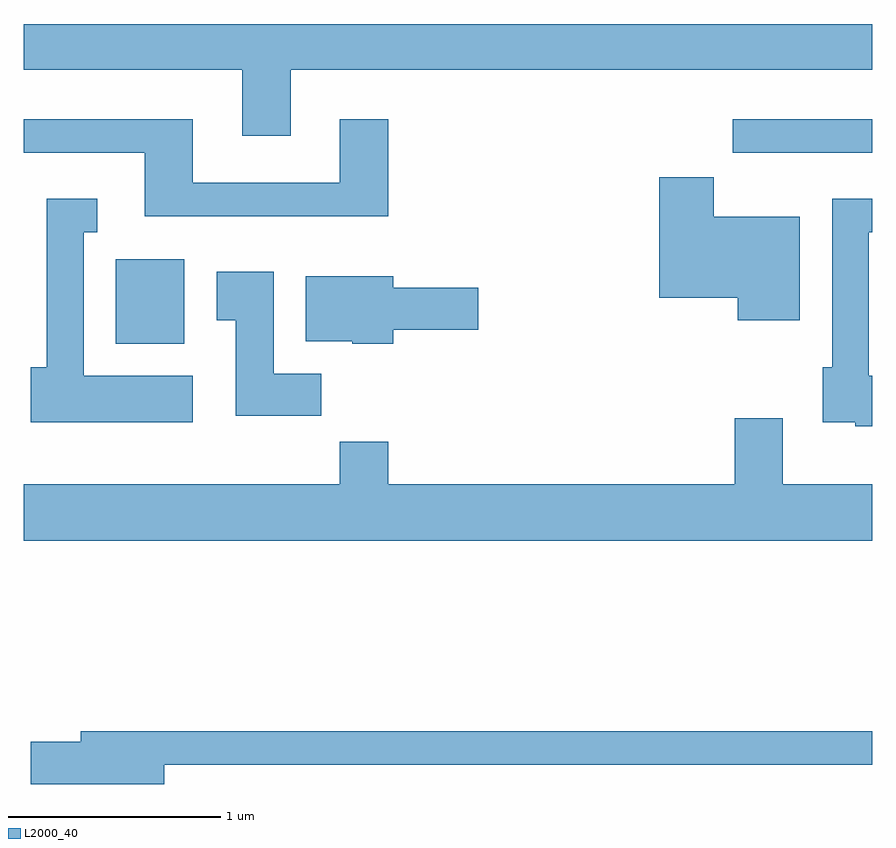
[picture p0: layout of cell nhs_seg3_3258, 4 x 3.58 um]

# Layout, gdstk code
import gdstk
lib = gdstk.Library(unit=1e-6, precision=1e-09)
def R(c, l, rs):  # rectangles x0, y0, x1, y1
    for r in rs: c.add(gdstk.rectangle(r[:2], r[2:], *l))
def P(c, l, *ps):  # polygons
    for p in ps: c.add(gdstk.Polygon(p, *l))
L2000_40 = (2000, 40)

nhs_seg3_3258 = lib.new_cell('nhs_seg3_3258')
R(nhs_seg3_3258, L2000_40, [(280.046,1242.386,280.369,1242.784), (282.953,1243.286,283.611,1243.444)])
P(nhs_seg3_3258, L2000_40, [(280.869,1243.676),(283.611,1243.676),(283.611,1243.892),(279.611,1243.892),(279.611,1243.676),(280.641,1243.676),(280.641,1243.366),(280.869,1243.366)],
  [(281.329,1243.444),(281.101,1243.444),(281.101,1243.144),(280.409,1243.144),(280.409,1243.444),(279.611,1243.444),(279.611,1243.286),(280.181,1243.286),(280.181,1242.986),(281.329,1242.986)],
  [(283.269,1242.984),(282.864,1242.984),(282.864,1243.169),(282.606,1243.169),(282.606,1242.601),(282.976,1242.601),(282.976,1242.496),(283.269,1242.496)],
  [(283.611,1242.234),(283.594,1242.234),(283.594,1242.911),(283.611,1242.911),(283.611,1243.069),(283.421,1243.069),(283.421,1242.274),(283.376,1242.274),(283.376,1242.016),(283.531,1242.016),(283.531,1241.996),(283.611,1241.996)],
  [(280.409,1242.234),(279.894,1242.234),(279.894,1242.911),(279.958,1242.911),(279.958,1243.069),(279.721,1243.069),(279.721,1242.274),(279.646,1242.274),(279.646,1242.016),(280.409,1242.016)],
  [(281.014,1242.244),(280.789,1242.244),(280.789,1242.724),(280.521,1242.724),(280.521,1242.496),(280.611,1242.496),(280.611,1242.046),(281.014,1242.046)],
  [(281.354,1242.451),(281.754,1242.451),(281.754,1242.649),(281.354,1242.649),(281.354,1242.704),(280.941,1242.704),(280.941,1242.396),(281.16,1242.396),(281.16,1242.386),(281.354,1242.386)],
  [(283.611,1241.724),(283.189,1241.724),(283.189,1242.034),(282.961,1242.034),(282.961,1241.724),(281.329,1241.724),(281.329,1241.924),(281.101,1241.924),(281.101,1241.724),(279.611,1241.724),(279.611,1241.456),(283.611,1241.456)],
  [(280.274,1240.401),(283.611,1240.401),(283.611,1240.559),(279.881,1240.559),(279.881,1240.509),(279.646,1240.509),(279.646,1240.311),(280.274,1240.311)])

lib.write_gds('nhs_seg3_3258.gds')
